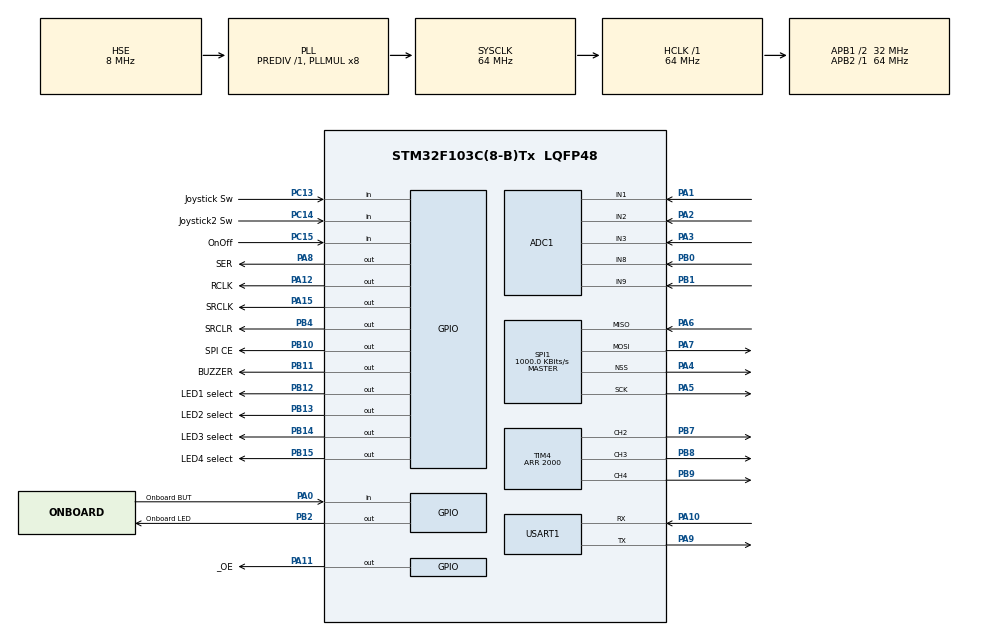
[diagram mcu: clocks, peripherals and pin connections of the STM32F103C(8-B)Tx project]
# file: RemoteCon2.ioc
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ADC1.Channel-10\#ChannelRegularConversion=ADC_CHANNEL_8
ADC1.Channel-11\#ChannelRegularConversion=ADC_CHANNEL_9
ADC1.Channel-7\#ChannelRegularConversion=ADC_CHANNEL_1
ADC1.Channel-8\#ChannelRegularConversion=ADC_CHANNEL_2
ADC1.Channel-9\#ChannelRegularConversion=ADC_CHANNEL_3
ADC1.ContinuousConvMode=ENABLE
ADC1.NbrOfConversion=5
ADC1.NbrOfConversionFlag=1
ADC1.Rank-10\#ChannelRegularConversion=4
ADC1.Rank-11\#ChannelRegularConversion=5
ADC1.Rank-7\#ChannelRegularConversion=1
ADC1.Rank-8\#ChannelRegularConversion=2
ADC1.Rank-9\#ChannelRegularConversion=3
ADC1.SamplingTime-10\#ChannelRegularConversion=ADC_SAMPLETIME_1CYCLE_5
ADC1.SamplingTime-11\#ChannelRegularConversion=ADC_SAMPLETIME_1CYCLE_5
ADC1.SamplingTime-7\#ChannelRegularConversion=ADC_SAMPLETIME_1CYCLE_5
ADC1.SamplingTime-8\#ChannelRegularConversion=ADC_SAMPLETIME_1CYCLE_5
ADC1.SamplingTime-9\#ChannelRegularConversion=ADC_SAMPLETIME_1CYCLE_5
ADC1.master=1
Dma.ADC1.0.Direction=DMA_PERIPH_TO_MEMORY
Dma.ADC1.0.Instance=DMA1_Channel1
Dma.ADC1.0.MemDataAlignment=DMA_MDATAALIGN_HALFWORD
Dma.ADC1.0.MemInc=DMA_MINC_ENABLE
Dma.ADC1.0.Mode=DMA_CIRCULAR
Dma.ADC1.0.PeriphDataAlignment=DMA_PDATAALIGN_HALFWORD
Dma.ADC1.0.PeriphInc=DMA_PINC_DISABLE
Dma.ADC1.0.Priority=DMA_PRIORITY_LOW
Dma.Request0=ADC1
Mcu.Family=STM32F1
Mcu.Name=STM32F103C(8-B)Tx
Mcu.Package=LQFP48
NVIC.DMA1_Channel1_IRQn=true\:0\:0\:false\:false\:true\:false\:true
NVIC.PriorityGroup=NVIC_PRIORITYGROUP_4
PA0-WKUP.GPIO_Label=Onboard BUT
PA0-WKUP.GPIO_PuPd=GPIO_PULLDOWN
PA0-WKUP.Signal=GPIO_Input
PA1.Signal=ADCx_IN1
PA10.Mode=Asynchronous
PA10.Signal=USART1_RX
PA11.GPIO_Label=_OE
PA11.Signal=GPIO_Output
PA12.GPIO_Label=RCLK
PA12.Signal=GPIO_Output
PA13.Mode=Serial_Wire
PA13.Signal=SYS_JTMS-SWDIO
PA14.Mode=Serial_Wire
PA14.Signal=SYS_JTCK-SWCLK
PA15.GPIO_Label=SRCLK
PA15.Signal=GPIO_Output
PA2.Signal=ADCx_IN2
PA3.Signal=ADCx_IN3
PA4.Mode=NSS_Signal_Hard_Output
PA4.Signal=SPI1_NSS
PA5.Mode=Full_Duplex_Master
PA5.Signal=SPI1_SCK
PA6.Mode=Full_Duplex_Master
PA6.Signal=SPI1_MISO
PA7.Mode=Full_Duplex_Master
PA7.Signal=SPI1_MOSI
PA8.GPIO_Label=SER
PA8.Signal=GPIO_Output
PA9.Mode=Asynchronous
PA9.Signal=USART1_TX
PB0.Signal=ADCx_IN8
PB1.Signal=ADCx_IN9
PB10.GPIO_Label=SPI CE
PB10.Signal=GPIO_Output
PB11.GPIO_Label=BUZZER
PB11.Signal=GPIO_Output
PB12.GPIO_Label=LED1 select
PB12.GPIO_ModeDefaultOutputPP=GPIO_MODE_OUTPUT_OD
PB12.GPIO_PuPd=GPIO_NOPULL
PB12.Signal=GPIO_Output
PB13.GPIO_Label=LED2 select
PB13.GPIO_ModeDefaultOutputPP=GPIO_MODE_OUTPUT_OD
PB13.Signal=GPIO_Output
PB14.GPIO_Label=LED3 select
PB14.GPIO_ModeDefaultOutputPP=GPIO_MODE_OUTPUT_OD
PB14.Signal=GPIO_Output
PB15.GPIO_Label=LED4 select
PB15.GPIO_ModeDefaultOutputPP=GPIO_MODE_OUTPUT_OD
PB15.Signal=GPIO_Output
PB2.GPIO_Label=Onboard LED
PB2.Signal=GPIO_Output
PB4.GPIO_Label=SRCLR
PB4.Signal=GPIO_Output
PB7.Signal=S_TIM4_CH2
PB8.Signal=S_TIM4_CH3
PB9.Signal=S_TIM4_CH4
PC13-TAMPER-RTC.GPIO_Label=Joystick Sw
PC13-TAMPER-RTC.GPIO_PuPd=GPIO_PULLUP
PC13-TAMPER-RTC.Signal=GPIO_Input
PC14-OSC32_IN.GPIO_Label=Joystick2 Sw
PC14-OSC32_IN.GPIO_PuPd=GPIO_PULLUP
PC14-OSC32_IN.Signal=GPIO_Input
PC15-OSC32_OUT.GPIO_Label=OnOff
PC15-OSC32_OUT.GPIO_PuPd=GPIO_PULLUP
PC15-OSC32_OUT.Signal=GPIO_Input
PD0-OSC_IN.Mode=HSE-External-Oscillator
PD0-OSC_IN.Signal=RCC_OSC_IN
PD1-OSC_OUT.Mode=HSE-External-Oscillator
PD1-OSC_OUT.Signal=RCC_OSC_OUT
ProjectManager.HeapSize=0x200
ProjectManager.StackSize=0x400
ProjectManager.TargetToolchain=TrueSTUDIO
RCC.ADCPresc=RCC_ADCPCLK2_DIV6
RCC.AHBFreq_Value=64000000
RCC.APB1CLKDivider=RCC_HCLK_DIV2
RCC.APB1Freq_Value=32000000
RCC.APB1TimFreq_Value=64000000
RCC.APB2Freq_Value=64000000
RCC.APB2TimFreq_Value=64000000
RCC.HCLKFreq_Value=64000000
RCC.PLLMUL=RCC_PLL_MUL8
RCC.PLLSourceVirtual=RCC_PLLSOURCE_HSE
RCC.SYSCLKFreq_VALUE=64000000
RCC.SYSCLKSource=RCC_SYSCLKSOURCE_PLLCLK
RCC.USBFreq_Value=64000000
SH.ADCx_IN1.0=ADC1_IN1,IN1
SH.ADCx_IN2.0=ADC1_IN2,IN2
SH.ADCx_IN3.0=ADC1_IN3,IN3
SH.ADCx_IN8.0=ADC1_IN8,IN8
SH.ADCx_IN9.0=ADC1_IN9,IN9
SH.S_TIM4_CH2.0=TIM4_CH2,PWM Generation2 CH2
SH.S_TIM4_CH3.0=TIM4_CH3,PWM Generation3 CH3
SH.S_TIM4_CH4.0=TIM4_CH4,PWM Generation4 CH4
SPI1.BaudRatePrescaler=SPI_BAUDRATEPRESCALER_64
SPI1.CalculateBaudRate=1000.0 KBits/s
SPI1.Direction=SPI_DIRECTION_2LINES
SPI1.Mode=SPI_MODE_MASTER
SPI1.VirtualNSS=VM_NSSHARD
SPI1.VirtualType=VM_MASTER
TIM4.AutoReloadPreload=TIM_AUTORELOAD_PRELOAD_ENABLE
TIM4.Channel-PWM\ Generation2\ CH2=TIM_CHANNEL_2
TIM4.Channel-PWM\ Generation3\ CH3=TIM_CHANNEL_3
TIM4.Channel-PWM\ Generation4\ CH4=TIM_CHANNEL_4
TIM4.Period=2000
USART1.VirtualMode=VM_ASYNC
VP_TIM4_VS_ClockSourceINT.Mode=Internal
board=custom

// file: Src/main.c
/* USER CODE BEGIN Header */
/**
 ******************************************************************************
 * @file           : main.c
 * @brief          : Main program body
 ******************************************************************************
 * @attention
 *
 * <h2><center>&copy; Copyright (c) 2020 STMicroelectronics.
 * All rights reserved.</center></h2>
 *
 * This software component is licensed by ST under BSD 3-Clause license,
 * the "License"; You may not use this file except in compliance with the
 * License. You may obtain a copy of the License at:
 *                        opensource.org/licenses/BSD-3-Clause
 *
 ******************************************************************************
 */
/* USER CODE END Header */

#include "main.h"

/* USER CODE BEGIN Includes */
#include "nrf24l01.h"
#include "stdio.h"
#include <string.h>
#include "LED_ops.h"
/* USER CODE END Includes */

/* USER CODE BEGIN PTD */

#define ADC_BUFF_SIZE 5

struct structPackage { // Size should not exceed 32Bytes
	//uint8_t size;//should be handled by the EazyDMA,however this is legacy version, some twist at the recieving library code would be required
	union {		//first byte is omitted at receive NRF for some reason.
		uint8_t s1;
		struct {
			uint8_t ack :1;
			uint8_t pid :2;
		};
	};
	uint8_t data[29];
} txPackage;

struct structPackageRx { // Size should not exceed 32Bytes
	//uint8_t size;//should be handled by the EazyDMA,however this is legacy version, some twist at the recieving library code would be required
	union {		//first byte is omitted at receive NRF for some reason.
		uint8_t s1;
		struct {
			uint8_t ack :1;
			uint8_t pid :2;
		};
	};
	uint8_t data[30];
} RxPackage;

NRF24L01_Pins_t NRF24L01_Pins;
uint8_t channel = 80; // Channel(decimal)
uint8_t payload = 32;
uint8_t pipeIn[] = { 0xE7, 0xE6, 0xE5, 0xE4, 0xE3 };
uint8_t pipeOut[] = { 0xC2, 0xC2, 0xC2, 0xC2, 0xC2 };

uint16_t adc_buff[ADC_BUFF_SIZE] = { 0 };
uint32_t g_ADCValue[8] = { 0 };

uint8_t received = 0;
uint8_t transmitted = 0;

int g_MeasurementNumber = 0;

uint8_t LEDArrayOut[4] = { 0xAA, 0xAA, 0xAA, 0xAA };
uint8_t LEDArrayOutCharIndex[4] = { };

uint8_t LEDArrayList[] = { 0b11111100,	//0
		0b01100000, //1
		0b11011010, //2
		0b11110010, //3
		0b01100110, //4
		0b10110110, //5
		0b10111110,	//6
		0b11100000, //7
		0b11111110, //8
		0b11110110, //9
		0b11101110, //A
		0b00111110, //b
		0b10011100,	//C
		0b01111010, //d
		0b10011110, //E
		0b10001110 //F
		};

struct {
	uint32_t isUp :1;
	uint32_t isDown :1;
	uint32_t isLeft :1;
	uint32_t isRight :1;
	uint32_t prevXDir :4;
	uint32_t prevYDir :4;
	uint32_t isButtonDown :1;
	uint32_t PressedTimerStart :1;
	uint32_t ShortPressed :1;
	uint32_t LongPressed :1;
	uint32_t isButtonHold :1;
} JoystickStates;

struct {
	uint32_t isUp :1;
	uint32_t isDown :1;
	uint32_t isLeft :1;
	uint32_t isRight :1;
	uint32_t prevXDir :4;
	uint32_t prevYDir :4;
	uint32_t isButtonDown :1;
	uint32_t PressedTimerStart :1;
	uint32_t ShortPressed :1;
	uint32_t LongPressed :1;
	uint32_t isButtonHold :1;
} Joystick2States;

struct {
	uint32_t UpRequest :1;
	uint32_t DownRequest :1;
	uint32_t LeftRequest :1;
	uint32_t RightRequest :1;
	uint32_t ButtonLongPressRequest :1;
	uint32_t ButtonShortPressRequest :1;
	uint32_t RadioTxRequest :1;
} JoystickMngmt;

struct {
	uint32_t Reset :1;
	uint32_t DownRequest :1;
	uint32_t LeftRequest :1;
	uint32_t RightRequest :1;
	uint32_t Blink :1;
} DisplayMode;

struct {
	uint32_t TxContinuousMode :1;
	uint32_t DisplayTestMode :1 ;
} OperatingMode;

enum JoystickDir {
	JoystickDir_Up,
	JoystickDir_Down,
	JoystickDir_Left,
	JoystickDir_Right,
	JoystickDir_XReset,
	JoystickDir_YReset
};
/* USER CODE END PTD */

ADC_HandleTypeDef hadc1;
DMA_HandleTypeDef hdma_adc1;

SPI_HandleTypeDef hspi1;

TIM_HandleTypeDef htim4;

UART_HandleTypeDef huart1;

void SystemClock_Config(void);
static void MX_GPIO_Init(void);
static void MX_DMA_Init(void);
static void MX_SPI1_Init(void);
static void MX_USART1_UART_Init(void);
static void MX_ADC1_Init(void);
static void MX_TIM4_Init(void);
/* USER CODE BEGIN PFP */
void nRF24_Init(void);
void printReg8(const char *regname, uint8_t value);
void LedArrayWrite(uint8_t LedNumber, uint8_t Number);
void LedArray_Init(void);
void LedArrayReset(void);
void LED_RGB_SetValue(uint8_t RGB, uint16_t value);
/* USER CODE END PFP */

/* USER CODE BEGIN 0 */

/* printf redirect to SWV debug */
int _write(int file, char *ptr, int len) {
	int i = 0;
	for (i = 0; i < len; i++) {
		ITM_SendChar((*ptr++));
	}
	return len;
}

int ConvTime = 0;
int AdcConvDone = 0;

void HAL_ADC_ConvCpltCallback(ADC_HandleTypeDef* hadc) {
	__NOP();
}

void HAL_ADC_ErrorCallback(ADC_HandleTypeDef* hadc) {
	printf("adc error=%lu \n", HAL_GetTick() - ConvTime);
//	HAL_ADC_Stop_DMA(&hadc1);
}

/* Task 1 */
void LED_onboard_task(uint32_t taskPeriod) {
	static uint32_t taskTick = 0;
	if (HAL_GetTick() - taskTick >= taskPeriod) {
		if (OperatingMode.TxContinuousMode) {
			LED_onboard_blink(25);
		} else {
			HAL_GPIO_WritePin(Onboard_LED_GPIO_Port, Onboard_LED_Pin,
					GPIO_PIN_RESET);
		}
		taskTick = HAL_GetTick();
	}
}

/* Task 2 */
void RGB_light_task(uint32_t taskPeriod) {
	static uint32_t taskTick = 0;
	if (HAL_GetTick() - taskTick >= taskPeriod) {
		float LED_Bright_K = (float) adc_buff[2] / 4096;
		//LED_Bright_K = 0.5; //disable
		LED_RGB_SetValue('R', adc_buff[3] / 2 * LED_Bright_K);
		LED_RGB_SetValue('G', adc_buff[0] / 2 * LED_Bright_K);
		LED_RGB_SetValue('B', adc_buff[1] / 2 * LED_Bright_K);

		//printf("[0]:%-5d, [1]:%-5d, [2]:%-5d, [3]:%-5d ,[4]:%-5d\n",adc_buff[0], adc_buff[1], adc_buff[2], adc_buff[3], adc_buff[4]);
		if (HAL_GPIO_ReadPin(Onboard_BUT_GPIO_Port, Onboard_BUT_Pin)
				== GPIO_PIN_SET) {
			HAL_GPIO_WritePin(BUZZER_GPIO_Port, BUZZER_Pin, GPIO_PIN_SET);
		} else {
			HAL_GPIO_WritePin(BUZZER_GPIO_Port, BUZZER_Pin, GPIO_PIN_RESET);
		}
		taskTick = HAL_GetTick();
	}
}

/* Task 3 */
void nRF24_task(uint32_t taskPeriod) {
	static uint32_t taskTick = 0;
	if (HAL_GetTick() - taskTick >= taskPeriod) {
		if (OperatingMode.TxContinuousMode) {

			//workaround of no ack.
			if (txPackage.pid == 3) {
				txPackage.pid = 0;
			} else {
				txPackage.pid++;
			}

			//load package
			txPackage.data[0] = 0x01;	//packet type: command packet
			txPackage.data[1] = 0x04; 	//data length
			txPackage.data[2] = adc_buff[0] >> 4; //scale down from 4095 to 255
			txPackage.data[3] = adc_buff[1] >> 4;
			txPackage.data[4] = adc_buff[3] >> 4;
			txPackage.data[5] = adc_buff[4] >> 4;

			//transmit package
			NRF24L01_Transmit(&txPackage);
			printf("nrf transmit\n");
		}
		taskTick = HAL_GetTick();
	}
}

/* Task 4 */
void Display_task(uint32_t LEDscanTick, uint32_t LEDcontentTick) {
	static uint32_t taskTick1 = 0;
	static uint32_t taskTick2 = 0;
	if (HAL_GetTick() - taskTick1 >= LEDscanTick) {
		static uint8_t time_count = 1;
		LedArrayReset();
		LedArrayWrite(time_count, LEDArrayOut[time_count - 1]);
		time_count++;
		if (time_count == 5)
			time_count = 1;
		taskTick1 = HAL_GetTick();
	}
	if (HAL_GetTick() - taskTick2 >= LEDcontentTick) {
		if (OperatingMode.TxContinuousMode) {
			//display raw thrust value 0~255.
			uint32_t thrust;

			thrust = adc_buff[4] >> 4;

			for (int i = 2; i >= 0; i--) {
				LEDArrayOut[i] = LEDArrayList[thrust % 10];
				thrust = thrust / 10;
			}
			LEDArrayOut[3] = 0b00000000;

		}

		if (OperatingMode.DisplayTestMode) {

			static uint8_t LED_NO_TO_UPDATE = 0;
			if (JoystickMngmt.UpRequest) {
				if (LEDArrayOutCharIndex[LED_NO_TO_UPDATE]
						== sizeof(LEDArrayList) - 1) {
					LEDArrayOutCharIndex[LED_NO_TO_UPDATE] = 0;
				} else {
					LEDArrayOutCharIndex[LED_NO_TO_UPDATE]++;
				}
				LEDArrayOut[LED_NO_TO_UPDATE] =
						LEDArrayList[LEDArrayOutCharIndex[LED_NO_TO_UPDATE]];
				JoystickMngmt.UpRequest = 0;
			}
			if (JoystickMngmt.DownRequest) {
				if (LEDArrayOutCharIndex[LED_NO_TO_UPDATE] == 0) {
					LEDArrayOutCharIndex[LED_NO_TO_UPDATE] =
							sizeof(LEDArrayList) - 1;
				} else {
					LEDArrayOutCharIndex[LED_NO_TO_UPDATE]--;
				}
				LEDArrayOut[LED_NO_TO_UPDATE] =
						LEDArrayList[LEDArrayOutCharIndex[LED_NO_TO_UPDATE]];
				JoystickMngmt.DownRequest = 0;
			}
			if (JoystickMngmt.RightRequest) {
				if (LED_NO_TO_UPDATE == 3) {
					LED_NO_TO_UPDATE = 0;
				} else {
					LED_NO_TO_UPDATE++;
				}
				JoystickMngmt.RightRequest = 0;
			}
			if (JoystickMngmt.LeftRequest) {
				if (LED_NO_TO_UPDATE == 0) {
					LED_NO_TO_UPDATE = 3;
				} else {
					LED_NO_TO_UPDATE--;
				}
				JoystickMngmt.LeftRequest = 0;
			}
			if (JoystickMngmt.ButtonShortPressRequest) {
				JoystickMngmt.UpRequest = 1;
				JoystickMngmt.ButtonShortPressRequest = 0;
			}
			if (JoystickMngmt.ButtonLongPressRequest) {
				if (DisplayMode.Blink) {
					DisplayMode.Blink = 0;
				} else {
					DisplayMode.Blink = 1;

				}
				JoystickMngmt.ButtonLongPressRequest = 0;
			}
		}

		taskTick2 = HAL_GetTick();
	}
}

/* Task 5 */
void Joystick_mngmnt_task(uint32_t taskPeriod) {
	static uint32_t taskTick = 0;
	if (HAL_GetTick() - taskTick >= taskPeriod) {
		if (adc_buff[0] < 100) {	//left and right
			if (JoystickStates.prevXDir == JoystickDir_XReset) {
				JoystickMngmt.LeftRequest = 1;
			}
			JoystickStates.isLeft = 1;
			JoystickStates.prevXDir = JoystickDir_Left;
		} else if (adc_buff[0] > 4000) {
			if (JoystickStates.prevXDir == JoystickDir_XReset) {
				JoystickMngmt.RightRequest = 1;
			}
			JoystickStates.isRight = 1;
			JoystickStates.prevXDir = JoystickDir_Right;
		} else {
			JoystickStates.isLeft = 0;
			JoystickStates.isRight = 0;
			JoystickStates.prevXDir = JoystickDir_XReset;
		}
		if (adc_buff[1] < 100) {	//up and down
			if (JoystickStates.prevYDir == JoystickDir_YReset) {
				JoystickMngmt.UpRequest = 1;
			}
			JoystickStates.isUp = 1;
			JoystickStates.prevYDir = JoystickDir_Up;
		} else if (adc_buff[1] > 3900) {
			if (JoystickStates.prevYDir == JoystickDir_YReset) {
				JoystickMngmt.DownRequest = 1;
			}
			JoystickStates.isDown = 1;
			JoystickStates.prevYDir = JoystickDir_Down;
		} else {
			JoystickStates.isUp = 0;
			JoystickStates.isDown = 0;
			JoystickStates.prevYDir = JoystickDir_YReset;
		}
		if (HAL_GPIO_ReadPin(Joystick_Sw_GPIO_Port, Joystick_Sw_Pin)
				== GPIO_PIN_RESET) {
			JoystickStates.isButtonDown = 1;
		} else {
			JoystickStates.isButtonDown = 0;
		}
		static uint32_t ButtonDownTime = 0;
		if (JoystickStates.isButtonDown == 1	//Button
		&& JoystickStates.PressedTimerStart == 0) {
			ButtonDownTime = HAL_GetTick();
			JoystickStates.PressedTimerStart = 1;
		}
		uint32_t ButtonDownTimeTemp = HAL_GetTick() - ButtonDownTime;
		if (ButtonDownTimeTemp > 50 && ButtonDownTimeTemp <= 500) {	//short press button
			if (JoystickStates.isButtonDown == 0) {	//release button at this time
				JoystickMngmt.ButtonShortPressRequest = 1;
				OperatingMode.TxContinuousMode ^= 1;
				JoystickStates.PressedTimerStart = 0;	//reset hold timer
			}
		} else if (ButtonDownTimeTemp > 500 || ButtonDownTimeTemp < 1000) {	//long press button
			if (JoystickStates.isButtonDown == 0) {	//release button at this time
				JoystickMngmt.ButtonLongPressRequest = 1;
				JoystickStates.PressedTimerStart = 0;//stop button hold count timer
			}
		} else if (ButtonDownTimeTemp >= 1000) {
			JoystickStates.isButtonHold = 1;
		}

		if (JoystickStates.isButtonDown == 0) {
			ButtonDownTime = HAL_GetTick();
			JoystickStates.isButtonHold = 0;
		}

		taskTick = HAL_GetTick();
	}
}
/* USER CODE END 0 */

int main(void)
{

  /* MCU Configuration--------------------------------------------------------*/

  /* Reset of all peripherals, Initializes the Flash interface and the Systick. */
  HAL_Init();

  /* Configure the system clock */
  SystemClock_Config();

  /* Initialize all configured peripherals */
  MX_GPIO_Init();
  MX_DMA_Init();
  MX_SPI1_Init();
  MX_USART1_UART_Init();
  MX_ADC1_Init();
  MX_TIM4_Init();
  /* USER CODE BEGIN 2 */

	/* Tasks init */
	printf("IO Initialized. \n");	//IO
	HAL_Delay(10);

	nRF24_Init();	// nRF
	printf("nRF24 Initialized. \n");

	HAL_GPIO_WritePin(GPIOB, GPIO_PIN_2, GPIO_PIN_SET); //Onboard LED
	HAL_Delay(1);

	LedArray_Init();	//LED display
	for (int i = 0; i < 4; i++)
		LEDArrayOut[i] = LEDArrayList[0];

	memset(&txPackage.data, '\0', sizeof(txPackage.data)); // txPackage
	uint8_t testmsg[] = "htesttest";
	memcpy(txPackage.data, testmsg, sizeof(testmsg));

	//	HAL_ADC_Start(&hadc1);
	HAL_ADC_Start_DMA(&hadc1, (uint32_t *) adc_buff, ADC_BUFF_SIZE); //ADC

	HAL_TIM_PWM_Start(&htim4, TIM_CHANNEL_2); // RGB light
	HAL_TIM_PWM_Start(&htim4, TIM_CHANNEL_3);
	HAL_TIM_PWM_Start(&htim4, TIM_CHANNEL_4);
	LED_RGB_SetValue('R', 1000);
	LED_RGB_SetValue('G', 1000);
	LED_RGB_SetValue('B', 1000);

  /* USER CODE END 2 */

  /* Infinite loop */
	while (1) {

    /* USER CODE BEGIN 3 */

		/* Task 1 LED brightness */
		LED_onboard_task(10);

		/* Task 2 RGB light */
		RGB_light_task(10);

		/* Task 3 nRF24 Transmit */
		nRF24_task(20);

		/* task 4 LED Array */
		Display_task(3, 20);

		/* task 5 Joystick management */
		Joystick_mngmnt_task(20);

	}
  /* USER CODE END 3 */
}

void SystemClock_Config(void)
{
  RCC_OscInitTypeDef RCC_OscInitStruct = {0};
  RCC_ClkInitTypeDef RCC_ClkInitStruct = {0};
  RCC_PeriphCLKInitTypeDef PeriphClkInit = {0};

  /** Initializes the CPU, AHB and APB busses clocks
  */
  RCC_OscInitStruct.OscillatorType = RCC_OSCILLATORTYPE_HSE;
  RCC_OscInitStruct.HSEState = RCC_HSE_ON;
  RCC_OscInitStruct.HSEPredivValue = RCC_HSE_PREDIV_DIV1;
  RCC_OscInitStruct.HSIState = RCC_HSI_ON;
  RCC_OscInitStruct.PLL.PLLState = RCC_PLL_ON;
  RCC_OscInitStruct.PLL.PLLSource = RCC_PLLSOURCE_HSE;
  RCC_OscInitStruct.PLL.PLLMUL = RCC_PLL_MUL8;
  if (HAL_RCC_OscConfig(&RCC_OscInitStruct) != HAL_OK)
  {
    Error_Handler();
  }
  /** Initializes the CPU, AHB and APB busses clocks
  */
  RCC_ClkInitStruct.ClockType = RCC_CLOCKTYPE_HCLK|RCC_CLOCKTYPE_SYSCLK
                              |RCC_CLOCKTYPE_PCLK1|RCC_CLOCKTYPE_PCLK2;
  RCC_ClkInitStruct.SYSCLKSource = RCC_SYSCLKSOURCE_PLLCLK;
  RCC_ClkInitStruct.AHBCLKDivider = RCC_SYSCLK_DIV1;
  RCC_ClkInitStruct.APB1CLKDivider = RCC_HCLK_DIV2;
  RCC_ClkInitStruct.APB2CLKDivider = RCC_HCLK_DIV1;

  if (HAL_RCC_ClockConfig(&RCC_ClkInitStruct, FLASH_LATENCY_2) != HAL_OK)
  {
    Error_Handler();
  }
  PeriphClkInit.PeriphClockSelection = RCC_PERIPHCLK_ADC;
  PeriphClkInit.AdcClockSelection = RCC_ADCPCLK2_DIV6;
  if (HAL_RCCEx_PeriphCLKConfig(&PeriphClkInit) != HAL_OK)
  {
    Error_Handler();
  }
}

static void MX_ADC1_Init(void)
{

  ADC_ChannelConfTypeDef sConfig = {0};

  /** Common config
  */
  hadc1.Instance = ADC1;
  hadc1.Init.ScanConvMode = ADC_SCAN_ENABLE;
  hadc1.Init.ContinuousConvMode = ENABLE;
  hadc1.Init.DiscontinuousConvMode = DISABLE;
  hadc1.Init.ExternalTrigConv = ADC_SOFTWARE_START;
  hadc1.Init.DataAlign = ADC_DATAALIGN_RIGHT;
  hadc1.Init.NbrOfConversion = 5;
  if (HAL_ADC_Init(&hadc1) != HAL_OK)
  {
    Error_Handler();
  }
  /** Configure Regular Channel
  */
  sConfig.Channel = ADC_CHANNEL_1;
  sConfig.Rank = ADC_REGULAR_RANK_1;
  sConfig.SamplingTime = ADC_SAMPLETIME_1CYCLE_5;
  if (HAL_ADC_ConfigChannel(&hadc1, &sConfig) != HAL_OK)
  {
    Error_Handler();
  }
  /** Configure Regular Channel
  */
  sConfig.Channel = ADC_CHANNEL_2;
  sConfig.Rank = ADC_REGULAR_RANK_2;
  if (HAL_ADC_ConfigChannel(&hadc1, &sConfig) != HAL_OK)
  {
    Error_Handler();
  }
  /** Configure Regular Channel
  */
  sConfig.Channel = ADC_CHANNEL_3;
  sConfig.Rank = ADC_REGULAR_RANK_3;
  if (HAL_ADC_ConfigChannel(&hadc1, &sConfig) != HAL_OK)
  {
    Error_Handler();
  }
  /** Configure Regular Channel
  */
  sConfig.Channel = ADC_CHANNEL_8;
  sConfig.Rank = ADC_REGULAR_RANK_4;
  if (HAL_ADC_ConfigChannel(&hadc1, &sConfig) != HAL_OK)
  {
    Error_Handler();
  }
  /** Configure Regular Channel
  */
  sConfig.Channel = ADC_CHANNEL_9;
  sConfig.Rank = ADC_REGULAR_RANK_5;
  if (HAL_ADC_ConfigChannel(&hadc1, &sConfig) != HAL_OK)
  {
    Error_Handler();
  }

}

static void MX_SPI1_Init(void)
{

  /* SPI1 parameter configuration*/
  hspi1.Instance = SPI1;
  hspi1.Init.Mode = SPI_MODE_MASTER;
  hspi1.Init.Direction = SPI_DIRECTION_2LINES;
  hspi1.Init.DataSize = SPI_DATASIZE_8BIT;
  hspi1.Init.CLKPolarity = SPI_POLARITY_LOW;
  hspi1.Init.CLKPhase = SPI_PHASE_1EDGE;
  hspi1.Init.NSS = SPI_NSS_HARD_OUTPUT;
  hspi1.Init.BaudRatePrescaler = SPI_BAUDRATEPRESCALER_64;
  hspi1.Init.FirstBit = SPI_FIRSTBIT_MSB;
  hspi1.Init.TIMode = SPI_TIMODE_DISABLE;
  hspi1.Init.CRCCalculation = SPI_CRCCALCULATION_DISABLE;
  hspi1.Init.CRCPolynomial = 10;
  if (HAL_SPI_Init(&hspi1) != HAL_OK)
  {
    Error_Handler();
  }

}

static void MX_TIM4_Init(void)
{

  TIM_ClockConfigTypeDef sClockSourceConfig = {0};
  TIM_MasterConfigTypeDef sMasterConfig = {0};
  TIM_OC_InitTypeDef sConfigOC = {0};

  htim4.Instance = TIM4;
  htim4.Init.Prescaler = 0;
  htim4.Init.CounterMode = TIM_COUNTERMODE_UP;
  htim4.Init.Period = 2000;
  htim4.Init.ClockDivision = TIM_CLOCKDIVISION_DIV1;
  htim4.Init.AutoReloadPreload = TIM_AUTORELOAD_PRELOAD_ENABLE;
  if (HAL_TIM_Base_Init(&htim4) != HAL_OK)
  {
    Error_Handler();
  }
  sClockSourceConfig.ClockSource = TIM_CLOCKSOURCE_INTERNAL;
  if (HAL_TIM_ConfigClockSource(&htim4, &sClockSourceConfig) != HAL_OK)
  {
    Error_Handler();
  }
  if (HAL_TIM_PWM_Init(&htim4) != HAL_OK)
  {
    Error_Handler();
  }
  sMasterConfig.MasterOutputTrigger = TIM_TRGO_RESET;
  sMasterConfig.MasterSlaveMode = TIM_MASTERSLAVEMODE_DISABLE;
  if (HAL_TIMEx_MasterConfigSynchronization(&htim4, &sMasterConfig) != HAL_OK)
  {
    Error_Handler();
  }
  sConfigOC.OCMode = TIM_OCMODE_PWM1;
  sConfigOC.Pulse = 0;
  sConfigOC.OCPolarity = TIM_OCPOLARITY_HIGH;
  sConfigOC.OCFastMode = TIM_OCFAST_DISABLE;
  if (HAL_TIM_PWM_ConfigChannel(&htim4, &sConfigOC, TIM_CHANNEL_2) != HAL_OK)
  {
    Error_Handler();
  }
  if (HAL_TIM_PWM_ConfigChannel(&htim4, &sConfigOC, TIM_CHANNEL_3) != HAL_OK)
  {
    Error_Handler();
  }
  if (HAL_TIM_PWM_ConfigChannel(&htim4, &sConfigOC, TIM_CHANNEL_4) != HAL_OK)
  {
    Error_Handler();
  }
  HAL_TIM_MspPostInit(&htim4);

}

static void MX_USART1_UART_Init(void)
{

  huart1.Instance = USART1;
  huart1.Init.BaudRate = 115200;
  huart1.Init.WordLength = UART_WORDLENGTH_8B;
  huart1.Init.StopBits = UART_STOPBITS_1;
  huart1.Init.Parity = UART_PARITY_NONE;
  huart1.Init.Mode = UART_MODE_TX_RX;
  huart1.Init.HwFlowCtl = UART_HWCONTROL_NONE;
  huart1.Init.OverSampling = UART_OVERSAMPLING_16;
  if (HAL_UART_Init(&huart1) != HAL_OK)
  {
    Error_Handler();
  }

}

static void MX_DMA_Init(void)
{

  /* DMA controller clock enable */
  __HAL_RCC_DMA1_CLK_ENABLE();

  /* DMA interrupt init */
  /* DMA1_Channel1_IRQn interrupt configuration */
  HAL_NVIC_SetPriority(DMA1_Channel1_IRQn, 0, 0);
  HAL_NVIC_EnableIRQ(DMA1_Channel1_IRQn);

}

static void MX_GPIO_Init(void)
{
  GPIO_InitTypeDef GPIO_InitStruct = {0};

  /* GPIO Ports Clock Enable */
  __HAL_RCC_GPIOC_CLK_ENABLE();
  __HAL_RCC_GPIOD_CLK_ENABLE();
  __HAL_RCC_GPIOA_CLK_ENABLE();
  __HAL_RCC_GPIOB_CLK_ENABLE();

  /*Configure GPIO pin Output Level */
  HAL_GPIO_WritePin(GPIOB, Onboard_LED_Pin|SPI_CE_Pin|BUZZER_Pin|LED1_select_Pin
                          |LED2_select_Pin|LED3_select_Pin|LED4_select_Pin|SRCLR_Pin, GPIO_PIN_RESET);

  /*Configure GPIO pin Output Level */
  HAL_GPIO_WritePin(GPIOA, SER_Pin|_OE_Pin|RCLK_Pin|SRCLK_Pin, GPIO_PIN_RESET);

  /*Configure GPIO pins : Joystick_Sw_Pin Joystick2_Sw_Pin OnOff_Pin */
  GPIO_InitStruct.Pin = Joystick_Sw_Pin|Joystick2_Sw_Pin|OnOff_Pin;
  GPIO_InitStruct.Mode = GPIO_MODE_INPUT;
  GPIO_InitStruct.Pull = GPIO_PULLUP;
  HAL_GPIO_Init(GPIOC, &GPIO_InitStruct);

  /*Configure GPIO pin : Onboard_BUT_Pin */
  GPIO_InitStruct.Pin = Onboard_BUT_Pin;
  GPIO_InitStruct.Mode = GPIO_MODE_INPUT;
  GPIO_InitStruct.Pull = GPIO_PULLDOWN;
  HAL_GPIO_Init(Onboard_BUT_GPIO_Port, &GPIO_InitStruct);

  /*Configure GPIO pins : Onboard_LED_Pin SPI_CE_Pin BUZZER_Pin SRCLR_Pin */
  GPIO_InitStruct.Pin = Onboard_LED_Pin|SPI_CE_Pin|BUZZER_Pin|SRCLR_Pin;
  GPIO_InitStruct.Mode = GPIO_MODE_OUTPUT_PP;
  GPIO_InitStruct.Pull = GPIO_NOPULL;
  GPIO_InitStruct.Speed = GPIO_SPEED_FREQ_LOW;
  HAL_GPIO_Init(GPIOB, &GPIO_InitStruct);

  /*Configure GPIO pins : LED1_select_Pin LED2_select_Pin LED3_select_Pin LED4_select_Pin */
  GPIO_InitStruct.Pin = LED1_select_Pin|LED2_select_Pin|LED3_select_Pin|LED4_select_Pin;
  GPIO_InitStruct.Mode = GPIO_MODE_OUTPUT_OD;
  GPIO_InitStruct.Pull = GPIO_NOPULL;
  GPIO_InitStruct.Speed = GPIO_SPEED_FREQ_LOW;
  HAL_GPIO_Init(GPIOB, &GPIO_InitStruct);

  /*Configure GPIO pins : SER_Pin _OE_Pin RCLK_Pin SRCLK_Pin */
  GPIO_InitStruct.Pin = SER_Pin|_OE_Pin|RCLK_Pin|SRCLK_Pin;
  GPIO_InitStruct.Mode = GPIO_MODE_OUTPUT_PP;
  GPIO_InitStruct.Pull = GPIO_NOPULL;
  GPIO_InitStruct.Speed = GPIO_SPEED_FREQ_LOW;
  HAL_GPIO_Init(GPIOA, &GPIO_InitStruct);

}

/* USER CODE BEGIN 4 */
void printReg8(const char *name, uint8_t value) {
	uint8_t mask;
	printf("%s : ", name);
	for (mask = 0x80; mask != 0; mask >>= 1) { //be careful of unsigned value compare
		printf("%d", value & mask ? 1 : 0);
	}
	printf(" ");
}

/* PWM period = 2000 */
void LED_RGB_SetValue(uint8_t RGB, uint16_t value) {
	TIM_OC_InitTypeDef sConfigOC;
	uint8_t Channel = TIM_CHANNEL_2;
	/* R and B switched on breakout board */
	if (RGB == 'R') {
		Channel = TIM_CHANNEL_4;
	} else if (RGB == 'G') {
		Channel = TIM_CHANNEL_3;
	} else if (RGB == 'B') {
		Channel = TIM_CHANNEL_2;
	}
	sConfigOC.OCMode = TIM_OCMODE_PWM1;
	sConfigOC.Pulse = value;
	sConfigOC.OCPolarity = TIM_OCPOLARITY_HIGH;
	sConfigOC.OCFastMode = TIM_OCFAST_DISABLE;
	HAL_TIM_PWM_ConfigChannel(&htim4, &sConfigOC, Channel);
	HAL_TIM_PWM_Start(&htim4, Channel);
}

void LedArrayReset() {
	HAL_GPIO_WritePin(GPIOA, GPIO_PIN_11, GPIO_PIN_SET);

	HAL_GPIO_WritePin(GPIOB, GPIO_PIN_12, GPIO_PIN_SET);
	HAL_GPIO_WritePin(GPIOB, GPIO_PIN_13, GPIO_PIN_SET);
	HAL_GPIO_WritePin(GPIOB, GPIO_PIN_14, GPIO_PIN_SET);
	HAL_GPIO_WritePin(GPIOB, GPIO_PIN_15, GPIO_PIN_SET);

}

void LedArrayWrite(uint8_t LedNumber, uint8_t Number) {
	for (uint8_t i = 0; i < 8; i++) {
		if (Number & (1 << i)) {
			HAL_GPIO_WritePin(GPIOA, GPIO_PIN_8, GPIO_PIN_SET);
		} else {
			HAL_GPIO_WritePin(GPIOA, GPIO_PIN_8, GPIO_PIN_RESET);
		}
		/* SRCLK clock once to let 1 bit go thru */
		HAL_GPIO_WritePin(GPIOA, GPIO_PIN_15, GPIO_PIN_SET);
		HAL_GPIO_WritePin(GPIOA, GPIO_PIN_15, GPIO_PIN_RESET);
	}
	/* RCLK clock once to store the byte */
	HAL_GPIO_WritePin(GPIOA, GPIO_PIN_12, GPIO_PIN_SET);
	HAL_GPIO_WritePin(GPIOA, GPIO_PIN_12, GPIO_PIN_RESET);
	/* Enable shift register output data */
	HAL_GPIO_WritePin(GPIOA, GPIO_PIN_11, GPIO_PIN_RESET);

	switch (LedNumber) {
	case 1:
		HAL_GPIO_WritePin(GPIOB, GPIO_PIN_12, GPIO_PIN_RESET);
		break;
	case 2:
		HAL_GPIO_WritePin(GPIOB, GPIO_PIN_13, GPIO_PIN_RESET);
		break;
	case 3:
		HAL_GPIO_WritePin(GPIOB, GPIO_PIN_14, GPIO_PIN_RESET);
		break;
	case 4:
		HAL_GPIO_WritePin(GPIOB, GPIO_PIN_15, GPIO_PIN_RESET);
		break;
	}

}

void LedArray_Init() {
	HAL_GPIO_WritePin(GPIOA, GPIO_PIN_8, GPIO_PIN_RESET);	//SER
	HAL_GPIO_WritePin(GPIOA, GPIO_PIN_11, GPIO_PIN_SET);	//_OE
	HAL_GPIO_WritePin(GPIOA, GPIO_PIN_12, GPIO_PIN_RESET);	//RCLK
	HAL_GPIO_WritePin(GPIOA, GPIO_PIN_15, GPIO_PIN_RESET);	//SRCLK
	HAL_GPIO_WritePin(GPIOB, GPIO_PIN_4, GPIO_PIN_SET);		//_SRCLR

	HAL_GPIO_WritePin(GPIOB, GPIO_PIN_12, GPIO_PIN_SET);	//HIGH IMPEDANCE
	HAL_GPIO_WritePin(GPIOB, GPIO_PIN_13, GPIO_PIN_SET);
	HAL_GPIO_WritePin(GPIOB, GPIO_PIN_14, GPIO_PIN_SET);
	HAL_GPIO_WritePin(GPIOB, GPIO_PIN_15, GPIO_PIN_SET);

}

void nRF24_Init() {
	/* Pins are used to in chip select functions */

	NRF24L01_Pins.CE.GPIOx = GPIOB;
	NRF24L01_Pins.CE.GPIO_Pin = GPIO_PIN_10;
	NRF24L01_Pins.CSN.GPIOx = GPIOA; // Declara pinos especificos da spi
	NRF24L01_Pins.CSN.GPIO_Pin = GPIO_PIN_4;
	NRF24L01_Pins.IRQ.GPIOx = NULL; // Interrupt pin is not used yet
	NRF24L01_Pins.IRQ.GPIO_Pin = 0;
	NRF24L01_Pins.MISO.GPIOx = GPIOA;
	NRF24L01_Pins.MISO.GPIO_Pin = GPIO_PIN_6;
	NRF24L01_Pins.MOSI.GPIOx = GPIOA;
	NRF24L01_Pins.MOSI.GPIO_Pin = GPIO_PIN_7;
	NRF24L01_Pins.SCK.GPIOx = GPIOA;
	NRF24L01_Pins.SCK.GPIO_Pin = GPIO_PIN_5;

	/* Initialize NRF24L01 on channel 80 and n bytes of payload */
	/* By default 2Mbps data rate and 0dBm output power */
	NRF24L01_Init(channel, payload, &hspi1, NRF24L01_Pins); //REVER

	/* Set 2MBps data rate and -18dBm output power */
	NRF24L01_SetRF(NRF24L01_DataRate_1M, NRF24L01_OutputPower_0dBm);

	/* Enable auto acknowledgement */
	NRF24L01_SetAutoAck(0xFF, 1); // 0xFF Enable all or if you want enable just pipe 3, insert 3
								  // Have some trouble with ack enable... many lost packages

	/* Enable CRC 2bytes */
	NRF24L01_SetCrcLength(NRF24L01_CRC_16);

	/* Open a writing pipe with an address*/
	NRF24L01_OpenWritingPipe(pipeOut);
	HAL_Delay(1);

	/* Open a reading pipe */
	NRF24L01_OpenReadingPipe(1, pipeIn);
	HAL_Delay(1);
}
/* USER CODE END 4 */

void Error_Handler(void)
{
  /* USER CODE BEGIN Error_Handler_Debug */
	/* User can add his own implementation to report the HAL error return state */
	while (1)
		;
  /* USER CODE END Error_Handler_Debug */
}

/************************ (C) COPYRIGHT STMicroelectronics *****END OF FILE****/
